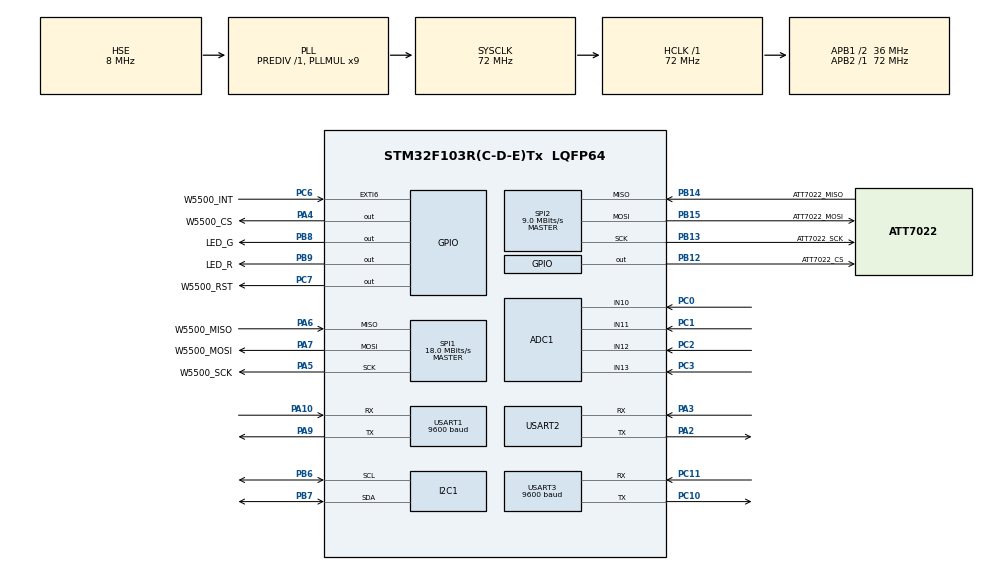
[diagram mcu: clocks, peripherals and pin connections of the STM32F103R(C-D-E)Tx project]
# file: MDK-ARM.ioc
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ADC1.Channel-0\#ChannelRegularConversion=ADC_CHANNEL_10
ADC1.Channel-1\#ChannelRegularConversion=ADC_CHANNEL_10
ADC1.Channel-2\#ChannelRegularConversion=ADC_CHANNEL_10
ADC1.Channel-3\#ChannelRegularConversion=ADC_CHANNEL_10
ADC1.NbrOfConversion=4
ADC1.NbrOfConversionFlag=1
ADC1.Rank-0\#ChannelRegularConversion=1
ADC1.Rank-1\#ChannelRegularConversion=2
ADC1.Rank-2\#ChannelRegularConversion=3
ADC1.Rank-3\#ChannelRegularConversion=4
ADC1.SamplingTime-0\#ChannelRegularConversion=ADC_SAMPLETIME_7CYCLES_5
ADC1.SamplingTime-1\#ChannelRegularConversion=ADC_SAMPLETIME_7CYCLES_5
ADC1.SamplingTime-2\#ChannelRegularConversion=ADC_SAMPLETIME_7CYCLES_5
ADC1.SamplingTime-3\#ChannelRegularConversion=ADC_SAMPLETIME_7CYCLES_5
ADC1.master=1
Dma.ADC1.0.Direction=DMA_PERIPH_TO_MEMORY
Dma.ADC1.0.Instance=DMA1_Channel1
Dma.ADC1.0.MemDataAlignment=DMA_MDATAALIGN_HALFWORD
Dma.ADC1.0.MemInc=DMA_MINC_ENABLE
Dma.ADC1.0.Mode=DMA_CIRCULAR
Dma.ADC1.0.PeriphDataAlignment=DMA_PDATAALIGN_HALFWORD
Dma.ADC1.0.PeriphInc=DMA_PINC_DISABLE
Dma.ADC1.0.Priority=DMA_PRIORITY_LOW
Dma.Request0=ADC1
FREERTOS.Tasks01=defaultTask,24,128,StartDefaultTask,Default,NULL,Dynamic,NULL,NULL;UartTask,24,512,vUartTask,Default,NULL,Dynamic,NULL,NULL
FREERTOS.configTOTAL_HEAP_SIZE=40960
I2C1.I2C_Mode=I2C_Fast
IWDG.Prescaler=IWDG_PRESCALER_64
Mcu.Family=STM32F1
Mcu.Name=STM32F103R(C-D-E)Tx
Mcu.Package=LQFP64
NVIC.DMA1_Channel1_IRQn=true\:5\:0\:false\:false\:true\:true\:false\:true\:true
NVIC.EXTI9_5_IRQn=true\:5\:0\:false\:false\:true\:true\:true\:true\:true
NVIC.PriorityGroup=NVIC_PRIORITYGROUP_4
NVIC.TIM6_IRQn=true\:0\:0\:true\:false\:true\:false\:false\:true\:true
NVIC.TimeBase=TIM6_IRQn
NVIC.TimeBaseIP=TIM6
NVIC.USART1_IRQn=true\:5\:0\:false\:false\:true\:true\:true\:true\:true
NVIC.USART2_IRQn=true\:5\:0\:false\:false\:true\:true\:true\:true\:true
NVIC.USART3_IRQn=true\:5\:0\:false\:false\:true\:true\:true\:true\:true
PA10.Mode=Asynchronous
PA10.Signal=USART1_RX
PA13.Mode=Serial_Wire
PA13.Signal=SYS_JTMS-SWDIO
PA14.Mode=Serial_Wire
PA14.Signal=SYS_JTCK-SWCLK
PA2.Mode=Asynchronous
PA2.Signal=USART2_TX
PA3.Mode=Asynchronous
PA3.Signal=USART2_RX
PA4.GPIO_Label=W5500_CS
PA4.GPIO_ModeDefaultOutputPP=GPIO_MODE_OUTPUT_PP
PA4.GPIO_PuPd=GPIO_PULLUP
PA4.GPIO_Speed=GPIO_SPEED_FREQ_HIGH
PA4.PinState=GPIO_PIN_SET
PA4.Signal=GPIO_Output
PA5.GPIO_Label=W5500_SCK
PA5.Mode=Full_Duplex_Master
PA5.Signal=SPI1_SCK
PA6.GPIO_Label=W5500_MISO
PA6.Mode=Full_Duplex_Master
PA6.Signal=SPI1_MISO
PA7.GPIO_Label=W5500_MOSI
PA7.Mode=Full_Duplex_Master
PA7.Signal=SPI1_MOSI
PA9.Mode=Asynchronous
PA9.Signal=USART1_TX
PB12.GPIO_Label=ATT7022_CS
PB12.GPIO_PuPd=GPIO_PULLUP
PB12.GPIO_Speed=GPIO_SPEED_FREQ_HIGH
PB12.PinState=GPIO_PIN_SET
PB12.Signal=GPIO_Output
PB13.GPIO_Label=ATT7022_SCK
PB13.Mode=Full_Duplex_Master
PB13.Signal=SPI2_SCK
PB14.GPIO_Label=ATT7022_MISO
PB14.Mode=Full_Duplex_Master
PB14.Signal=SPI2_MISO
PB15.GPIO_Label=ATT7022_MOSI
PB15.Mode=Full_Duplex_Master
PB15.Signal=SPI2_MOSI
PB6.Mode=I2C
PB6.Signal=I2C1_SCL
PB7.Mode=I2C
PB7.Signal=I2C1_SDA
PB8.GPIO_Label=LED_G
PB8.Signal=GPIO_Output
PB9.GPIO_Label=LED_R
PB9.Signal=GPIO_Output
PC0.Signal=ADCx_IN10
PC1.Signal=ADCx_IN11
PC10.Mode=Asynchronous
PC10.Signal=USART3_TX
PC11.Mode=Asynchronous
PC11.Signal=USART3_RX
PC14-OSC32_IN.Mode=LSE-External-Oscillator
PC14-OSC32_IN.Signal=RCC_OSC32_IN
PC15-OSC32_OUT.Mode=LSE-External-Oscillator
PC15-OSC32_OUT.Signal=RCC_OSC32_OUT
PC2.Signal=ADCx_IN12
PC3.Signal=ADCx_IN13
PC6.GPIO_Label=W5500_INT
PC6.GPIO_ModeDefaultEXTI=GPIO_MODE_IT_FALLING
PC6.GPIO_PuPd=GPIO_PULLUP
PC6.Signal=GPXTI6
PC7.GPIO_Label=W5500_RST
PC7.GPIO_ModeDefaultOutputPP=GPIO_MODE_OUTPUT_PP
PC7.GPIO_PuPd=GPIO_NOPULL
PC7.PinState=GPIO_PIN_SET
PC7.Signal=GPIO_Output
PD0-OSC_IN.Mode=HSE-External-Oscillator
PD0-OSC_IN.Signal=RCC_OSC_IN
PD1-OSC_OUT.Mode=HSE-External-Oscillator
PD1-OSC_OUT.Signal=RCC_OSC_OUT
ProjectManager.HeapSize=0x200
ProjectManager.StackSize=0x400
ProjectManager.TargetToolchain=MDK-ARM V5.32
RCC.ADCPresc=RCC_ADCPCLK2_DIV6
RCC.AHBFreq_Value=72000000
RCC.APB1CLKDivider=RCC_HCLK_DIV2
RCC.APB1Freq_Value=36000000
RCC.APB1TimFreq_Value=72000000
RCC.APB2Freq_Value=72000000
RCC.APB2TimFreq_Value=72000000
RCC.HCLKFreq_Value=72000000
RCC.PLLMUL=RCC_PLL_MUL9
RCC.PLLSourceVirtual=RCC_PLLSOURCE_HSE
RCC.RTCClockSelection=RCC_RTCCLKSOURCE_LSE
RCC.SYSCLKFreq_VALUE=72000000
RCC.SYSCLKSource=RCC_SYSCLKSOURCE_PLLCLK
RCC.USBFreq_Value=72000000
SH.ADCx_IN10.0=ADC1_IN10,IN10
SH.ADCx_IN11.0=ADC1_IN11,IN11
SH.ADCx_IN12.0=ADC1_IN12,IN12
SH.ADCx_IN13.0=ADC1_IN13,IN13
SPI1.BaudRatePrescaler=SPI_BAUDRATEPRESCALER_4
SPI1.CalculateBaudRate=18.0 MBits/s
SPI1.Direction=SPI_DIRECTION_2LINES
SPI1.Mode=SPI_MODE_MASTER
SPI1.VirtualType=VM_MASTER
SPI2.BaudRatePrescaler=SPI_BAUDRATEPRESCALER_4
SPI2.CLKPhase=SPI_PHASE_2EDGE
SPI2.CalculateBaudRate=9.0 MBits/s
SPI2.Direction=SPI_DIRECTION_2LINES
SPI2.Mode=SPI_MODE_MASTER
SPI2.VirtualType=VM_MASTER
USART1.BaudRate=9600
USART1.VirtualMode=VM_ASYNC
USART2.VirtualMode=VM_ASYNC
USART3.BaudRate=9600
USART3.VirtualMode=VM_ASYNC
VP_FREERTOS_VS_CMSIS_V2.Mode=CMSIS_V2
VP_IWDG_VS_IWDG.Mode=IWDG_Activate
VP_RTC_VS_RTC_Activate.Mode=RTC_Enabled
VP_RTC_VS_RTC_Calendar.Mode=RTC_Calendar
VP_SYS_VS_tim6.Mode=TIM6
board=custom

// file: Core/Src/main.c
/* USER CODE BEGIN Header */
/**
  ******************************************************************************
  * @file           : main.c
  * @brief          : Main program body
  ******************************************************************************
  * @attention
  *
  * Copyright (c) 2026 STMicroelectronics.
  * All rights reserved.
  *
  * This software is licensed under terms that can be found in the LICENSE file
  * in the root directory of this software component.
  * If no LICENSE file comes with this software, it is provided AS-IS.
  *
  ******************************************************************************
  */
/* USER CODE END Header */
#include "main.h"
#include "cmsis_os.h"
#include "adc.h"
#include "dma.h"
#include "i2c.h"
#include "iwdg.h"
#include "rtc.h"
#include "spi.h"
#include "usart.h"
#include "gpio.h"

/* USER CODE BEGIN Includes */
#include "log.h"
#include "parameter.h"
#include "W5500Task.h"
/* USER CODE END Includes */

void SystemClock_Config(void);
void MX_FREERTOS_Init(void);

int main(void)
{

  /* USER CODE BEGIN 1 */
#if (APP_IAP == 1)
  IAP_Init();
#endif
  /* USER CODE END 1 */

  /* MCU Configuration--------------------------------------------------------*/

  /* Reset of all peripherals, Initializes the Flash interface and the Systick. */
  HAL_Init();

  /* Configure the system clock */
  SystemClock_Config();

  /* Initialize all configured peripherals */
  MX_GPIO_Init();
  MX_DMA_Init();
  MX_USART1_UART_Init();
  MX_USART2_UART_Init();
  MX_USART3_UART_Init();
  MX_RTC_Init();
  MX_ADC1_Init();
  MX_I2C1_Init();
  MX_SPI2_Init();
  MX_SPI1_Init();
  MX_IWDG_Init();
  /* USER CODE BEGIN 2 */
  Parameter_Init();
#if PRINT_LOG_OPEN == 1
  uartlog_init();  //初始化log串口
#endif
  if(gFlashParam.st.Prod_Protocol > PROTOCOL_MB)
  {
    W5500_Init();
  }
  /* USER CODE END 2 */

  /* Init scheduler */
  osKernelInitialize();  /* Call init function for freertos objects (in cmsis_os2.c) */
  MX_FREERTOS_Init();

  /* Start scheduler */
  osKernelStart();

  /* We should never get here as control is now taken by the scheduler */

  /* Infinite loop */
  while (1)
  {

  }
}

void SystemClock_Config(void)
{
  RCC_OscInitTypeDef RCC_OscInitStruct = {0};
  RCC_ClkInitTypeDef RCC_ClkInitStruct = {0};
  RCC_PeriphCLKInitTypeDef PeriphClkInit = {0};

  /** Initializes the RCC Oscillators according to the specified parameters
  * in the RCC_OscInitTypeDef structure.
  */
  RCC_OscInitStruct.OscillatorType = RCC_OSCILLATORTYPE_LSI|RCC_OSCILLATORTYPE_HSE
                              |RCC_OSCILLATORTYPE_LSE;
  RCC_OscInitStruct.HSEState = RCC_HSE_ON;
  RCC_OscInitStruct.HSEPredivValue = RCC_HSE_PREDIV_DIV1;
  RCC_OscInitStruct.LSEState = RCC_LSE_ON;
  RCC_OscInitStruct.HSIState = RCC_HSI_ON;
  RCC_OscInitStruct.LSIState = RCC_LSI_ON;
  RCC_OscInitStruct.PLL.PLLState = RCC_PLL_ON;
  RCC_OscInitStruct.PLL.PLLSource = RCC_PLLSOURCE_HSE;
  RCC_OscInitStruct.PLL.PLLMUL = RCC_PLL_MUL9;
  if (HAL_RCC_OscConfig(&RCC_OscInitStruct) != HAL_OK)
  {
    Error_Handler();
  }

  /** Initializes the CPU, AHB and APB buses clocks
  */
  RCC_ClkInitStruct.ClockType = RCC_CLOCKTYPE_HCLK|RCC_CLOCKTYPE_SYSCLK
                              |RCC_CLOCKTYPE_PCLK1|RCC_CLOCKTYPE_PCLK2;
  RCC_ClkInitStruct.SYSCLKSource = RCC_SYSCLKSOURCE_PLLCLK;
  RCC_ClkInitStruct.AHBCLKDivider = RCC_SYSCLK_DIV1;
  RCC_ClkInitStruct.APB1CLKDivider = RCC_HCLK_DIV2;
  RCC_ClkInitStruct.APB2CLKDivider = RCC_HCLK_DIV1;

  if (HAL_RCC_ClockConfig(&RCC_ClkInitStruct, FLASH_LATENCY_2) != HAL_OK)
  {
    Error_Handler();
  }
  PeriphClkInit.PeriphClockSelection = RCC_PERIPHCLK_RTC|RCC_PERIPHCLK_ADC;
  PeriphClkInit.RTCClockSelection = RCC_RTCCLKSOURCE_LSE;
  PeriphClkInit.AdcClockSelection = RCC_ADCPCLK2_DIV6;
  if (HAL_RCCEx_PeriphCLKConfig(&PeriphClkInit) != HAL_OK)
  {
    Error_Handler();
  }
}

void HAL_TIM_PeriodElapsedCallback(TIM_HandleTypeDef *htim)
{
  if (htim->Instance == TIM6)
  {
    HAL_IncTick();
  }
}

void Error_Handler(void)
{
  __disable_irq();
  while (1)
  {
  }
}

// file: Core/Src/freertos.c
/* USER CODE BEGIN Header */
/**
  ******************************************************************************
  * File Name          : freertos.c
  * Description        : Code for freertos applications
  ******************************************************************************
  * @attention
  *
  * Copyright (c) 2026 STMicroelectronics.
  * All rights reserved.
  *
  * This software is licensed under terms that can be found in the LICENSE file
  * in the root directory of this software component.
  * If no LICENSE file comes with this software, it is provided AS-IS.
  *
  ******************************************************************************
  */
/* USER CODE END Header */

#include "FreeRTOS.h"
#include "task.h"
#include "main.h"
#include "cmsis_os.h"

/* USER CODE BEGIN Includes */
#include "queue.h"
#include <string.h>
#include "usart.h"
#include "ntc.h"
#include "W5500Task.h"
#include "parameter.h"
#include "log.h"
#include "iwdg.h"
#include "rtc.h"
#include "collect.h"
/* USER CODE END Includes */

/* USER CODE BEGIN Variables */
extern volatile bsp_uart_status_info_st gtv_UartPortStatus[MAX_SUPPORT_UART_PORT];
/* uart recevie buffer */
extern uint8_t gcv_Uart1RecvBuf[RX_LEN_UART1];
extern uint8_t gcv_Uart2RecvBuf[RX_LEN_UART2];
extern uint8_t gcv_Uart3RecvBuf[RX_LEN_UART3];
/* USER CODE END Variables */
/* Definitions for defaultTask */
osThreadId_t defaultTaskHandle;
const osThreadAttr_t defaultTask_attributes = {
  .name = "defaultTask",
  .stack_size = 128 * 4,
  .priority = (osPriority_t) osPriorityNormal,
};
/* Definitions for UartTask */
osThreadId_t UartTaskHandle;
const osThreadAttr_t UartTask_attributes = {
  .name = "UartTask",
  .stack_size = 512 * 4,
  .priority = (osPriority_t) osPriorityNormal,
};

/* USER CODE BEGIN FunctionPrototypes */
extern QueueHandle_t gtv_UartTaskMsgQueueHandle;
/* USER CODE END FunctionPrototypes */

void StartDefaultTask(void *argument);
void vUartTask(void *argument);

void MX_FREERTOS_Init(void); /* (MISRA C 2004 rule 8.1) */

void MX_FREERTOS_Init(void) {

  /* Create the thread(s) */
  /* creation of defaultTask */
  defaultTaskHandle = osThreadNew(StartDefaultTask, NULL, &defaultTask_attributes);

  /* creation of UartTask */
  UartTaskHandle = osThreadNew(vUartTask, NULL, &UartTask_attributes);

  /* USER CODE BEGIN RTOS_THREADS */
  ntcTaskHandle = osThreadNew(NtcTask, NULL, &ntcTask_attributes);
  W5500TaskHandle = osThreadNew(W5500Task, NULL, &W5500Task_attributes);
  collectTaskHandle = osThreadNew(collectTask, NULL, &collectTask_attributes);
  /* USER CODE END RTOS_THREADS */

}

void StartDefaultTask(void *argument)
{
  /* USER CODE BEGIN StartDefaultTask */
  /* Infinite loop */
  for(;;)
  {
		osDelay(1000);
    HAL_IWDG_Refresh(&hiwdg);
    gParam.st.SecCnt++;
    gFlashParam.st.SecCntAll++;
    if(gParam.st.SecCnt % 3 == 0)  //save SecCntAll in BKP
    {
        HAL_RTCEx_BKUPWrite(&hrtc, RTC_BKP_DR41, gFlashParam.st.SecCntAll);
        HAL_RTCEx_BKUPWrite(&hrtc, RTC_BKP_DR42, (gFlashParam.st.SecCntAll >> 16));
    }

#if (PRINT_LOG_OPEN == 1)
    UBaseType_t uxArraySize, x;
    TaskStatus_t *pxTaskStatusArray;

    uxArraySize = uxTaskGetNumberOfTasks();
    pxTaskStatusArray = pvPortMalloc(uxArraySize * sizeof(TaskStatus_t));
    if(pxTaskStatusArray != NULL)
    {
        uxArraySize = uxTaskGetSystemState(pxTaskStatusArray, uxArraySize, NULL);
        LOGE("app_main", "================================================");
        LOGE("app_main", "TotalHeap=%u  FreeHeap=%u  MinEverFree=%u",
            (unsigned int)configTOTAL_HEAP_SIZE,
            (unsigned int)xPortGetFreeHeapSize(),
            (unsigned int)xPortGetMinimumEverFreeHeapSize());
        LOGE("app_main", "Task Name            State  Priority  FreeStack");
        LOGE("app_main", "------------------------------------------------");
        for(x = 0; x < uxArraySize; x++)
        {
            const char *stateStr;
            switch(pxTaskStatusArray[x].eCurrentState)
            {
                case eRunning:   stateStr = "RUN";  break;
                case eReady:     stateStr = "RDY";  break;
                case eBlocked:   stateStr = "BLK";  break;
                case eSuspended: stateStr = "SUS";  break;
                case eDeleted:   stateStr = "DEL";  break;
                default:         stateStr = "UNK";  break;
            }
            LOGE("app_main", "%-20s %-5s %-5u %-5u",
                pxTaskStatusArray[x].pcTaskName,
                stateStr,
                pxTaskStatusArray[x].uxCurrentPriority,
                pxTaskStatusArray[x].usStackHighWaterMark);
        }
        LOGE("app_main", "================================================");
        vPortFree(pxTaskStatusArray);
    }
#endif

  }
  /* USER CODE END StartDefaultTask */
}

void vUartTask(void *argument)
{
  /* USER CODE BEGIN vUartTask */
  /* Infinite loop */
    //�������ڶ���
    uart_msg_st ltv_UartMsg;
    gtv_UartTaskMsgQueueHandle = xQueueCreate(10, sizeof(uart_msg_st));
    configASSERT(gtv_UartTaskMsgQueueHandle != NULL);
    for(;;)
    {
       xQueueReceive(gtv_UartTaskMsgQueueHandle, &ltv_UartMsg, portMAX_DELAY);

       switch(ltv_UartMsg.mcv_UartPort)
       {
       case UART_PORT1:
           HandleUART1RecvData(ltv_UartMsg.mcp_DataBuff, ltv_UartMsg.msv_MsgLength);
           memset(gcv_Uart1RecvBuf, 0, RX_LEN_UART1);
           break;

       case UART_PORT2:
           HandleUART2RecvData(ltv_UartMsg.mcp_DataBuff, ltv_UartMsg.msv_MsgLength);
           memset(gcv_Uart2RecvBuf, 0, RX_LEN_UART2);
           break;

       case UART_PORT3:
           HandleUART3RecvData(ltv_UartMsg.mcp_DataBuff, ltv_UartMsg.msv_MsgLength);
           memset(gcv_Uart3RecvBuf, 0, RX_LEN_UART3);
           break;

       default:
           break;
       }
    }
  /* USER CODE END vUartTask */
}
